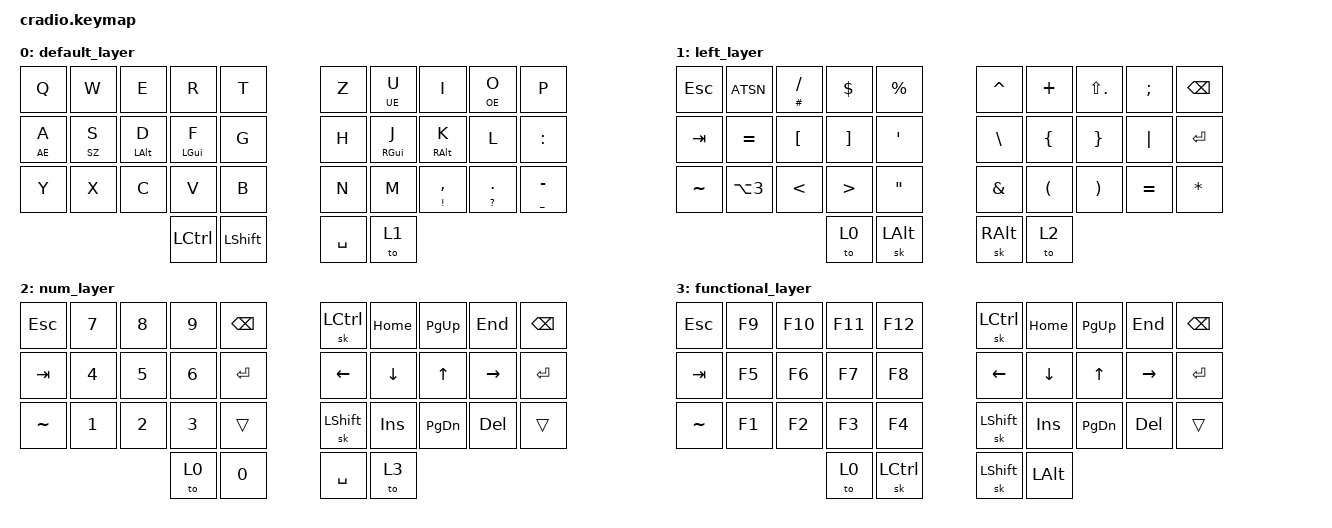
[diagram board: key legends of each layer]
/*
 * Copyright (c) 2020 The ZMK Contributors
 *
 * SPDX-License-Identifier: MIT
 */

#include <behaviors.dtsi>
#include <dt-bindings/zmk/keys.h>
#include <dt-bindings/zmk/bt.h>


&mt {
    flavor = "tap-preferred";
    tapping_term_ms = <200>;
};

/ { 


    behaviors {
        hm: homerow_mods {
            compatible = "zmk,behavior-hold-tap";
            label = "HOMEROW_MODS";
            #binding-cells = <2>;
            tapping-term-ms = <200>;
            quick_tap_ms = <0>;
            flavor = "tap-preferred";
            bindings = <&kp>, <&kp>;
        };
	td: tapdance {
            compatible = "zmk,behavior-hold-tap";
            label = "TAPDANCE";
            #binding-cells = <2>;
            tapping-term-ms = <200>;
            quick_tap_ms = <0>;
            flavor = "tap-preferred";
            bindings = <&kp>, <&kp>;
        };
    };

        keymap {
                compatible = "zmk,keymap";
                
       		default_layer {
		bindings = <
		&kp Q &kp W &kp E &kp R &kp T 						&kp Z &td UE U  &kp I  &td OE O  &kp P
		&td AE A &td SZ S &hm LALT D &hm LGUI F &kp G 			       	&kp H &hm RGUI J &hm RALT K &kp L &kp COLON
		&kp Y &kp X &kp C &kp V &kp B				        &kp N &kp M  &td EXCL COMMA &td QMARK DOT &td  UNDER MINUS 
          				&kp LCTRL &kp LSHIFT  				&kp SPC &to 1
		>;
		};
		
		
		left_layer {
		bindings = <
		&kp ESC  &kp ATSN   &td HASH SLASH &kp DLLR    &kp PRCNT		&kp CARET &kp PLUS &kp LS(DOT) &kp SEMI &kp BKSP 
		&kp TAB    &kp EQUAL    &kp LBKT      &kp RBKT     &kp SQT 		&kp BSLH &kp LBRC  &kp RBRC &kp PIPE  &kp ENTER
		&kp TILDE    &kp LA(N3) 	&kp LT &kp GT  &kp DQT 	&kp AMPS &kp LPRN &kp RPRN &kp EQUAL  &kp STAR 
							&to 0  &sk LALT  					&sk RALT &to 2 
		>;
		};
		
		num_layer {
		bindings = <
		&kp ESC &kp N7 &kp N8 &kp N9 &kp BKSP						&sk LCTRL &kp HOME  &kp PG_UP  &kp END  &kp BKSP 
		&kp TAB &kp N4 &kp N5 &kp N6 &kp ENTER			       	&kp LEFT &kp DOWN &kp UP &kp RIGHT &kp ENTER 
		&kp TILDE &kp N1 &kp N2 &kp N3 &trans				        &sk LSHIFT &kp INS  &kp PG_DN &kp DEL &trans 
          				&to 0  &kp N0  				&kp SPC &to 3
		>;
		};

		functional_layer {
		bindings = <
		&kp ESC &kp F9 &kp F10 &kp F11 &kp F12						&sk LCTRL &kp HOME  &kp PG_UP  &kp END  &kp BKSP 
		&kp TAB &kp F5 &kp F6 &kp F7 &kp F8			       	&kp LEFT &kp DOWN &kp UP &kp RIGHT &kp ENTER 
		&kp TILDE &kp F1 &kp F2 &kp F3 &kp F4				        &sk LSHIFT &kp INS  &kp PG_DN &kp DEL &trans 
          				&to 0  &sk LCTRL 				&sk LSHIFT &kp LALT
		>;
		};
		};	
        
};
